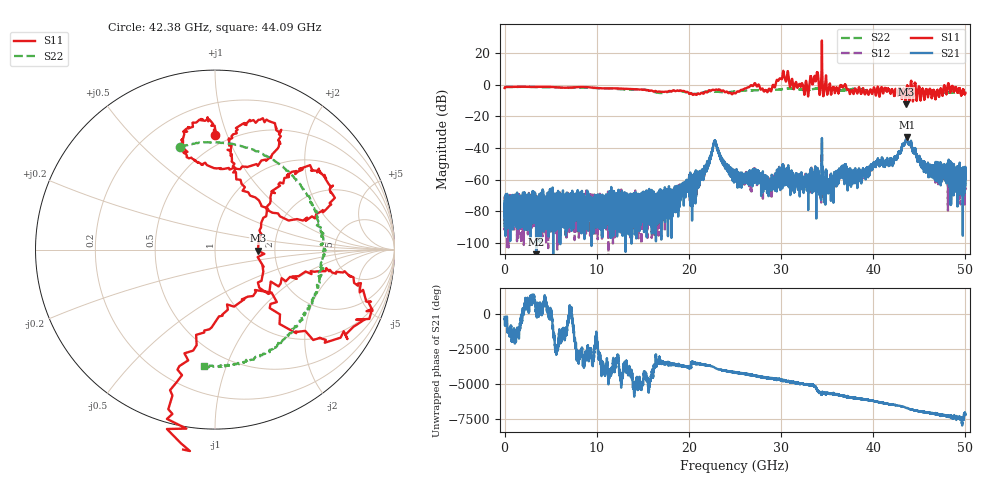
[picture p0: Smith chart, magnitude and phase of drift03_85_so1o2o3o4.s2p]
!Created with skrf (http://scikit-rf.org).
# Hz S RI R 50.0
!freq ReS11 ImS11 ReS21 ImS21 ReS12 ImS12 ReS22 ImS22
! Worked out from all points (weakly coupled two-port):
!   10000 points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, 5.3 MHz to 50 GHz, reference 50 ohm
!   highest |S21| = -33.27 dB at 43.64 GHz (marker M1); lowest = -120.5 dB at 3.425 GHz (marker M2)
!   lowest |S11| = -12.4 dB at 43.52 GHz (marker M3), VSWR 1.63, Z = 81.4 - j1.17 ohm
!   |S11| at or under -10 dB: 43.48138 GHz to 43.55819 GHz (76.81 MHz wide, 0.176 % of centre); 43.91901 GHz to 43.92091 GHz (1.904 MHz wide, 0.00434 % of centre); 44.3069 GHz to 44.31541 GHz (8.512 MHz wide, 0.0192 % of centre) (the widest 3 of 5)
!   |S22| runs from -5.9 to -1.3 dB; largest |S21 - S12| = 0.014
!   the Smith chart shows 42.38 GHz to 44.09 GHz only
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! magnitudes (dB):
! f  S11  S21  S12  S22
! 5.3 MHz  -2.1  -89.1  -87.5  -2.1
! 3.425 GHz  -1.4  -120.5  -78.5  -1.5
! 8.34 GHz  -1.5  -94.0  -81.5  -1.9
! 16.67 GHz  -4.4  -78.9  -70.6  -5.1
! 21.09 GHz  -5.8  -55.9  -58.7  -5.5
! 22.82 GHz  -3.4  -35.6  -35.2  -4.5
! 25.01 GHz  -5.5  -57.2  -57.5  -4.2
! 27.02 GHz  -0.3  -55.2  -57.0  -3.5
! 28.8 GHz  -3.1  -63.6  -65.4  -3.5
! 30.14 GHz  4.5  -61.7  -56.5  -2.7
! 32.74 GHz  2.0  -60.4  -60.7  -3.3
! 33.34 GHz  2.7  -54.5  -56.8  -2.9
! 33.82 GHz  4.4  -84.6  -68.7  -2.6
! 34.84 GHz  3.1  -65.1  -65.0  -2.3
! 36.45 GHz  -0.5  -55.9  -55.5  -3.7
! 38.47 GHz  -1.6  -55.6  -55.3  -3.0
! 41.67 GHz  -2.9  -49.6  -51.1  -3.7
! 43.52 GHz  -12.4  -35.5  -35.3  -4.3
! 43.64 GHz  -2.4  -33.3  -33.5  -4.0
! 46.24 GHz  -4.2  -53.4  -53.8  -5.5
! 49.67 GHz  -4.3  -61.1  -54.9  -5.0
! 50 GHz  -5.1  -52.8  -58.4  -4.9
